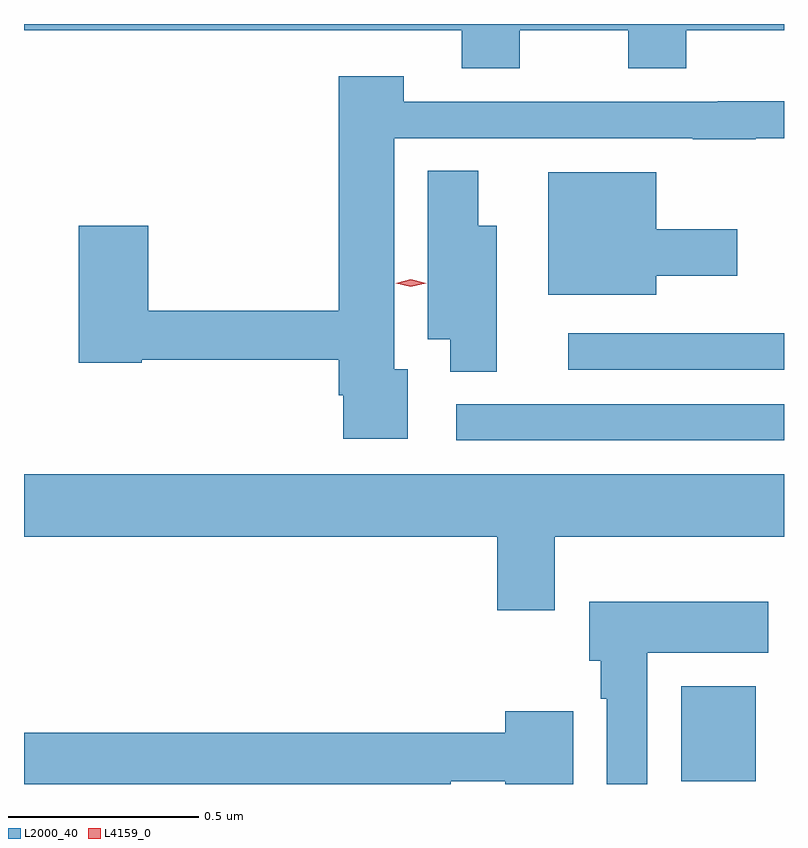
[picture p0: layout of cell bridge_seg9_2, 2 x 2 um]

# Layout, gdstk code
import gdstk
lib = gdstk.Library(unit=1e-6, precision=1e-09)
def R(c, l, rs):  # rectangles x0, y0, x1, y1
    for r in rs: c.add(gdstk.rectangle(r[:2], r[2:], *l))
def P(c, l, *ps):  # polygons
    for p in ps: c.add(gdstk.Polygon(p, *l))
L2000_40 = (2000, 40)
L4159_0 = (4159, 0)

bridge_seg9_2 = lib.new_cell('bridge_seg9_2')
R(bridge_seg9_2, L2000_40, [(1055.805,1239.732,1056.001,1239.982), (1055.214,1240.629,1056.076,1240.725), (1055.508,1240.815,1056.076,1240.911)])
P(bridge_seg9_2, L2000_40, [(1055.38,1241.708),(1055.666,1241.708),(1055.666,1241.609),(1055.819,1241.609),(1055.819,1241.708),(1056.076,1241.708),(1056.076,1241.725),(1054.076,1241.725),(1054.076,1241.708),(1055.228,1241.708),(1055.228,1241.609),(1055.38,1241.609)],
  [(1055.086,1240.816),(1055.05,1240.816),(1055.05,1241.424),(1055.836,1241.424),(1055.836,1241.422),(1056.002,1241.422),(1056.002,1241.424),(1056.076,1241.424),(1056.076,1241.522),(1055.902,1241.522),(1055.902,1241.52),(1055.075,1241.52),(1055.075,1241.587),(1054.904,1241.587),(1054.904,1240.97),(1054.403,1240.97),(1054.403,1241.194),(1054.22,1241.194),(1054.22,1240.834),(1054.386,1240.834),(1054.386,1240.842),(1054.904,1240.842),(1054.904,1240.748),(1054.916,1240.748),(1054.916,1240.634),(1055.086,1240.634)],
  [(1055.32,1241.194),(1055.272,1241.194),(1055.272,1241.339),(1055.138,1241.339),(1055.138,1240.895),(1055.198,1240.895),(1055.198,1240.81),(1055.32,1240.81)],
  [(1055.74,1241.063),(1055.953,1241.063),(1055.953,1241.185),(1055.74,1241.185),(1055.74,1241.335),(1055.456,1241.335),(1055.456,1241.012),(1055.74,1241.012)],
  [(1055.473,1240.376),(1056.076,1240.376),(1056.076,1240.54),(1054.076,1240.54),(1054.076,1240.376),(1055.321,1240.376),(1055.321,1240.182),(1055.473,1240.182)],
  [(1055.716,1240.07),(1056.034,1240.07),(1056.034,1240.204),(1055.564,1240.204),(1055.564,1240.05),(1055.594,1240.05),(1055.594,1239.95),(1055.609,1239.95),(1055.609,1239.725),(1055.716,1239.725)],
  [(1055.199,1239.732),(1055.342,1239.732),(1055.342,1239.725),(1055.521,1239.725),(1055.521,1239.916),(1055.342,1239.916),(1055.342,1239.86),(1054.076,1239.86),(1054.076,1239.725),(1055.199,1239.725)])
P(bridge_seg9_2, L4159_0, [(1055.094,1241.033),(1055.054,1241.043),(1055.054,1241.043),(1055.054,1241.043),(1055.094,1241.053),(1055.134,1241.043),(1055.134,1241.043),(1055.134,1241.043)])

lib.write_gds('bridge_seg9_2.gds')
